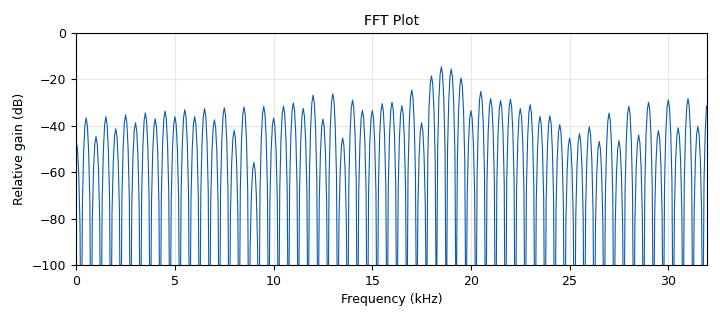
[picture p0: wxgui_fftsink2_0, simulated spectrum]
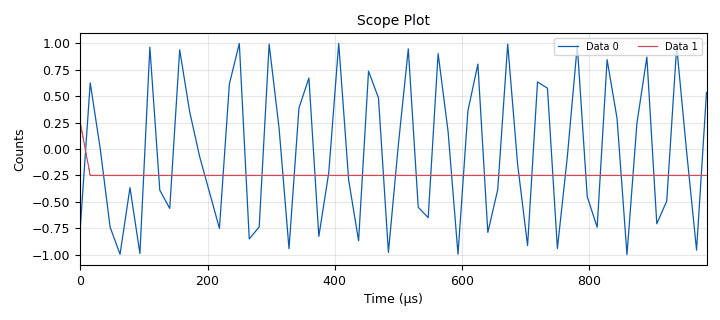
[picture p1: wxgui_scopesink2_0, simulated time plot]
<?xml version='1.0' encoding='utf-8'?>
<flow_graph>
<block>
<key>options</key>
<param><key>id</key><value>top_block</value></param>
<param><key>generate_options</key><value>wx_gui</value></param>
<param><key>category</key><value>Custom</value></param>
</block>
<block>
<key>variable</key>
<param><key>id</key><value>samp_rate</value></param>
<param><key>value</key><value>32000*2</value></param>
</block>
<block>
<key>blocks_throttle</key>
<param><key>id</key><value>blocks_throttle_0</value></param>
<param><key>type</key><value>float</value></param>
<param><key>samples_per_second</key><value>samp_rate</value></param>
</block>
<block>
<key>analog_wfm_tx</key>
<param><key>id</key><value>analog_wfm_tx_0</value></param>
<param><key>audio_rate</key><value>samp_rate</value></param>
<param><key>quad_rate</key><value>samp_rate</value></param>
<param><key>tau</key><value>75e-6</value></param>
<param><key>max_dev</key><value>75e3</value></param>
</block>
<block>
<key>blocks_complex_to_float</key>
<param><key>id</key><value>blocks_complex_to_float_0</value></param>
</block>
<block>
<key>wxgui_fftsink2</key>
<param><key>id</key><value>wxgui_fftsink2_0</value></param>
<param><key>type</key><value>float</value></param>
<param><key>title</key><value>FFT Plot</value></param>
<param><key>samp_rate</key><value>samp_rate</value></param>
<param><key>baseband_freq</key><value>0</value></param>
<param><key>y_per_div</key><value>10</value></param>
<param><key>y_divs</key><value>10</value></param>
<param><key>ref_level</key><value>0</value></param>
<param><key>ref_scale</key><value>2.0</value></param>
<param><key>fft_size</key><value>1024</value></param>
<param><key>fft_rate</key><value>15</value></param>
<param><key>peak_hold</key><value>False</value></param>
<param><key>average</key><value>False</value></param>
<param><key>avg_alpha</key><value>0</value></param>
<param><key>win</key><value>None</value></param>
<param><key>freqvar</key><value>None</value></param>
</block>
<block>
<key>wxgui_scopesink2</key>
<param><key>id</key><value>wxgui_scopesink2_0</value></param>
<param><key>type</key><value>float</value></param>
<param><key>title</key><value>Scope Plot</value></param>
<param><key>samp_rate</key><value>samp_rate</value></param>
<param><key>v_scale</key><value>0</value></param>
<param><key>v_offset</key><value>0</value></param>
<param><key>t_scale</key><value>0</value></param>
<param><key>ac_couple</key><value>False</value></param>
<param><key>xy_mode</key><value>False</value></param>
<param><key>num_inputs</key><value>2</value></param>
<param><key>trig_mode</key><value>wxgui.TRIG_MODE_AUTO</value></param>
<param><key>y_axis_label</key><value>Counts</value></param>
</block>
<block>
<key>variable_slider</key>
<param><key>id</key><value>A</value></param>
<param><key>label</key><value>Amplitude</value></param>
<param><key>value</key><value>0.5</value></param>
<param><key>min</key><value>0</value></param>
<param><key>max</key><value>1</value></param>
<param><key>num_steps</key><value>50</value></param>
<param><key>style</key><value>wx.SL_HORIZONTAL</value></param>
<param><key>converver</key><value>float_converter</value></param>
</block>
<block>
<key>variable_slider</key>
<param><key>id</key><value>F</value></param>
<param><key>label</key><value>Frequencia</value></param>
<param><key>value</key><value>500</value></param>
<param><key>min</key><value>50</value></param>
<param><key>max</key><value>1000</value></param>
<param><key>num_steps</key><value>50</value></param>
<param><key>style</key><value>wx.SL_HORIZONTAL</value></param>
<param><key>converver</key><value>float_converter</value></param>
</block>
<block>
<key>analog_sig_source_x</key>
<param><key>id</key><value>analog_sig_source_x_0</value></param>
<param><key>type</key><value>float</value></param>
<param><key>samp_rate</key><value>samp_rate</value></param>
<param><key>waveform</key><value>analog.GR_SQR_WAVE</value></param>
<param><key>freq</key><value>F</value></param>
<param><key>amp</key><value>A</value></param>
<param><key>offset</key><value>-A/2.0</value></param>
</block>
<connection><source_block_id>analog_sig_source_x_0</source_block_id><sink_block_id>blocks_throttle_0</sink_block_id><source_key>0</source_key><sink_key>0</sink_key></connection>
<connection><source_block_id>blocks_throttle_0</source_block_id><sink_block_id>analog_wfm_tx_0</sink_block_id><source_key>0</source_key><sink_key>0</sink_key></connection>
<connection><source_block_id>analog_wfm_tx_0</source_block_id><sink_block_id>blocks_complex_to_float_0</sink_block_id><source_key>0</source_key><sink_key>0</sink_key></connection>
<connection><source_block_id>blocks_complex_to_float_0</source_block_id><sink_block_id>wxgui_scopesink2_0</sink_block_id><source_key>0</source_key><sink_key>0</sink_key></connection>
<connection><source_block_id>blocks_complex_to_float_0</source_block_id><sink_block_id>wxgui_fftsink2_0</sink_block_id><source_key>0</source_key><sink_key>0</sink_key></connection>
<connection><source_block_id>analog_sig_source_x_0</source_block_id><sink_block_id>wxgui_scopesink2_0</sink_block_id><source_key>0</source_key><sink_key>1</sink_key></connection>
</flow_graph>
